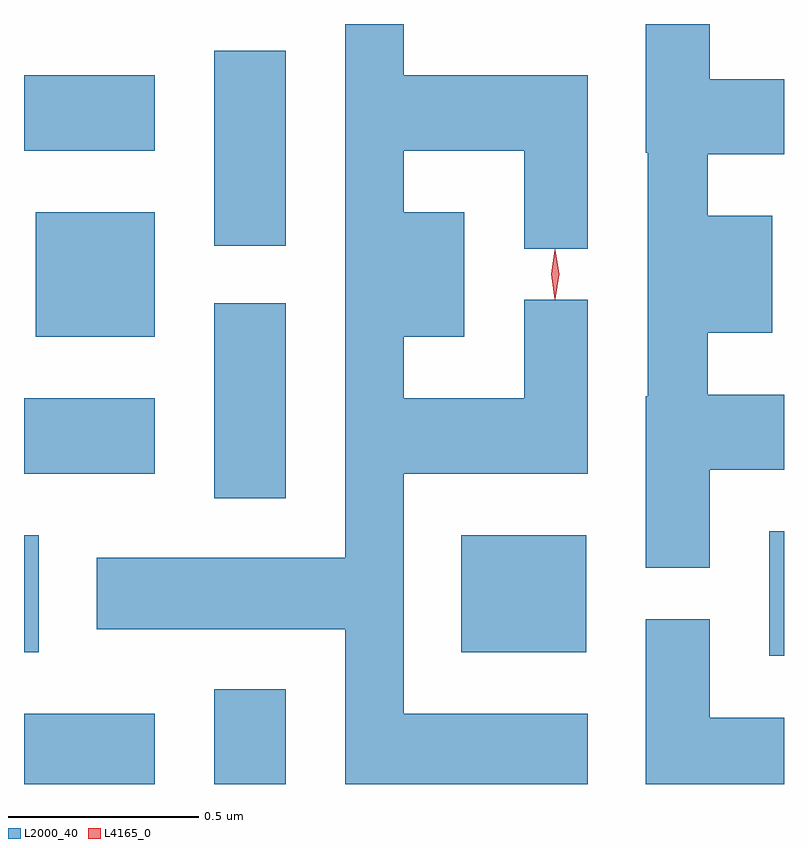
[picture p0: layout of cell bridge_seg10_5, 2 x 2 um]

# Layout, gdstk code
import gdstk
lib = gdstk.Library(unit=1e-6, precision=1e-09)
def R(c, l, rs):  # rectangles x0, y0, x1, y1
    for r in rs: c.add(gdstk.rectangle(r[:2], r[2:], *l))
def P(c, l, *ps):  # polygons
    for p in ps: c.add(gdstk.Polygon(p, *l))
L2000_40 = (2000, 40)
L4165_0 = (4165, 0)

bridge_seg10_5 = lib.new_cell('bridge_seg10_5')
R(bridge_seg10_5, L2000_40, [(1911.395,2161.109,1911.739,2161.294), (1911.896,2161.109,1912.084,2161.359), (1913.356,2161.446,1913.395,2161.774), (1911.395,2161.456,1911.434,2161.764), (1912.546,2161.456,1912.874,2161.764), (1911.896,2161.861,1912.084,2162.374), (1911.395,2161.926,1911.739,2162.124), (1911.426,2162.286,1911.739,2162.614), (1911.896,2162.526,1912.084,2163.039), (1911.395,2162.776,1911.739,2162.974)])
P(bridge_seg10_5, L2000_40, [(1912.879,2161.294),(1912.394,2161.294),(1912.394,2161.926),(1912.879,2161.926),(1912.879,2162.383),(1912.711,2162.383),(1912.711,2162.124),(1912.394,2162.124),(1912.394,2162.286),(1912.554,2162.286),(1912.554,2162.614),(1912.394,2162.614),(1912.394,2162.776),(1912.711,2162.776),(1912.711,2162.518),(1912.879,2162.518),(1912.879,2162.974),(1912.394,2162.974),(1912.394,2163.109),(1912.241,2163.109),(1912.241,2161.704),(1911.586,2161.704),(1911.586,2161.516),(1912.241,2161.516),(1912.241,2161.109),(1912.879,2161.109)],
  [(1913.199,2161.936),(1913.395,2161.936),(1913.395,2162.134),(1913.194,2162.134),(1913.194,2162.296),(1913.364,2162.296),(1913.364,2162.604),(1913.194,2162.604),(1913.194,2162.766),(1913.395,2162.766),(1913.395,2162.964),(1913.199,2162.964),(1913.199,2163.109),(1913.031,2163.109),(1913.031,2162.77),(1913.036,2162.77),(1913.036,2162.13),(1913.031,2162.13),(1913.031,2161.678),(1913.199,2161.678)],
  [(1913.395,2161.284),(1913.199,2161.284),(1913.199,2161.543),(1913.031,2161.543),(1913.031,2161.109),(1913.395,2161.109)])
P(bridge_seg10_5, L4165_0, [(1912.793,2162.384),(1912.792,2162.385),(1912.783,2162.45),(1912.792,2162.515),(1912.793,2162.516),(1912.793,2162.515),(1912.803,2162.45),(1912.793,2162.385)])

lib.write_gds('bridge_seg10_5.gds')
